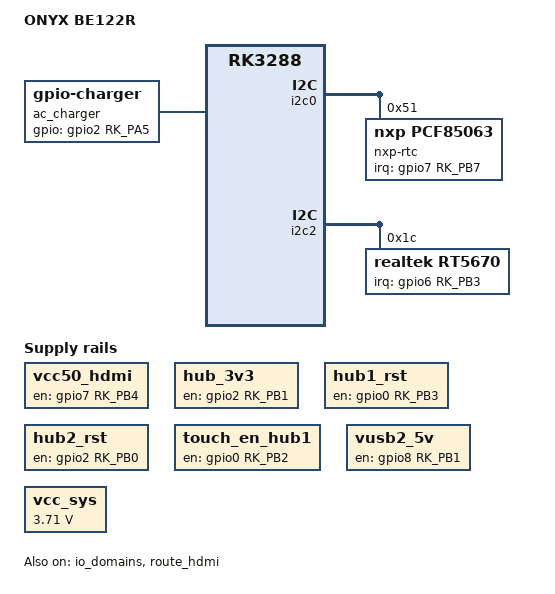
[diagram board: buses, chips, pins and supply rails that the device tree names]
/*
 * Copyright (c) 2021 Onyx Healthcare Inc.
 *
 * SPDX-License-Identifier: (GPL-2.0+ OR MIT)
 */

/dts-v1/;
#include "rk3288-evb-android-rk808-edp.dtsi"

/delete-node/ &vcc_lcd;
/delete-node/ &vcc_wl;

/ {
	model = "ONYX BE122R";
	compatible = "rockchip,rk3288-evb-android-rk808-edp", "rockchip,rk3288";
	chosen: chosen {
		bootargs = "earlycon=uart8250,mmio32,0xff690000 vmalloc=496M swiotlb=1 console=ttyFIQ0 androidboot.baseband=N/A androidboot.veritymode=enforcing androidboot.hardware=rk30board androidboot.console=ttyFIQ0 init=/init kpti=0 snd_soc_rt5670.quirk=0x040C";
	};

	ac_charger: ac-charger {
		compatible = "gpio-charger";
		charger-type = "mains";
		gpios = <&gpio2 RK_PA5 GPIO_ACTIVE_HIGH>;
		pinctrl-names = "default";
		pinctrl-0 = <&ac_present_ap>;
	};

	gpio-keys {
		pinctrl-0 = <&pwrbtn &en_keys>;

		brightness-down-key {
			gpios = <&gpio2 RK_PA3 GPIO_ACTIVE_LOW>;
			label = "Brightness_down";
			linux,code = <KEY_BRIGHTNESSDOWN>;
			debounce-interval = <100>;
		};

		brightness-up-key {
			gpios = <&gpio2 RK_PA2 GPIO_ACTIVE_LOW>;
			label = "Brightness_up";
			linux,code = <KEY_BRIGHTNESSUP>;
			debounce-interval = <100>;
		};

		vol-down-key {
			gpios = <&gpio2 RK_PA1 GPIO_ACTIVE_LOW>;
			label = "Volume_down";
			linux,code = <KEY_VOLUMEDOWN>;
			debounce-interval = <100>;
		};

		vol-up-key {
			gpios = <&gpio2 RK_PA0 GPIO_ACTIVE_LOW>;
			label = "Volume_up";
			linux,code = <KEY_VOLUMEUP>;
			debounce-interval = <100>;
		};
	};

	panel {
		enable-gpios = <&gpio7 RK_PA3 GPIO_ACTIVE_HIGH>;

		display-timings {
			native-mode = <&timing0>;

			timing0: timing0 {
				clock-frequency = <76420000>;
				hactive = <1366>;
				vactive = <768>;
				hfront-porch = <50>;
				hsync-len = <126>;
				hback-porch = <50>;
				vfront-porch = <15>;
				vsync-len = <2>;
				vback-porch = <15>;
				hsync-active = <0>;
				vsync-active = <0>;
				de-active = <0>;
				pixelclk-active = <0>;
			};
		};

		port {
			panel_in_edp: endpoint {
				remote-endpoint = <&edp_out_panel>;
			};
		};
	};

	vcc50_hdmi: vcc50-hdmi {
		compatible = "regulator-fixed";
		regulator-name = "vcc50_hdmi";
		regulator-always-on;
		enable-active-high;
		gpio = <&gpio7 RK_PB4 GPIO_ACTIVE_HIGH>;
		pinctrl-names = "default";
		pinctrl-0 = <&hdmi_en>;
	};

	hub_3v3: hub-3v3 {
		compatible = "regulator-fixed";
		enable-active-high;
		gpio = <&gpio2 RK_PB1 GPIO_ACTIVE_HIGH>;
		pinctrl-names = "default";
		pinctrl-0 = <&phy_pwr_en>;
		regulator-name = "hub_3v3";
		regulator-always-on;
	};

	hub1_rst: hub1-rst {
		compatible = "regulator-fixed";
		enable-active-high;
		gpio = <&gpio0 RK_PB3 GPIO_ACTIVE_HIGH>;
		pinctrl-names = "default";
		pinctrl-0 = <&hub1_rst_en>;
		regulator-name = "hub1_rst";
		regulator-always-on;
	};

	hub2_rst: hub2-rst {
		compatible = "regulator-fixed";
		enable-active-high;
		gpio = <&gpio2 RK_PB0 GPIO_ACTIVE_HIGH>;
		pinctrl-names = "default";
		pinctrl-0 = <&hub2_rst_en>;
		regulator-name = "hub2_rst";
		regulator-always-on;
	};

	touch_en_hub1: touch-en-hub1 {
		compatible = "regulator-fixed";
		enable-active-high;
		gpio = <&gpio0 RK_PB2 GPIO_ACTIVE_HIGH>;
		pinctrl-names = "default";
		pinctrl-0 = <&touch_en>;
		regulator-name = "touch_en_hub1";
		regulator-always-on;
	};

	vusb2_5v: vusb2-5v {
		compatible = "regulator-fixed";
		enable-active-high;
		gpio = <&gpio8 RK_PB1 GPIO_ACTIVE_HIGH>;
		pinctrl-names = "default";
		pinctrl-0 = <&usb2_pwr_en>;
		regulator-name = "vusb2_5v";
		regulator-always-on;
	};

	wireless-wlan {
		wifi_chip_type = "ap6255";
	};
};

&i2c0 {
	nxp-rtc@51 {
		reg = <0x51>;
		compatible = "nxp,pcf85063";
		irq_gpio = <&gpio7 RK_PB7 GPIO_ACTIVE_HIGH>;
		status = "okay";
	};
};

&i2c1 {
	/delete-node/ ak8963-compass@0d;
	/delete-node/ mpu-acc@68;
	/delete-node/ mpu-gyro@68;
};

&i2c2 {
	/delete-node/ rt5640@1c;

	rt5670: rt5670@1c {
		#sound-dai-cells = <0>;
		compatible = "realtek,rt5670";
		reg = <0x1c>;
		clocks = <&cru SCLK_I2S0_OUT>;
		clock-names = "mclk";
		interrupt-parent = <&gpio6>;
		interrupts = <RK_PB3 IRQ_TYPE_EDGE_FALLING>;
		pinctrl-names = "default";
		pinctrl-0 = <&i2s0_mclk>;
	};
};

&i2c4 {
	/delete-node/ gsl3673@40;
};

&io_domains {
	status = "okay";

	audio-supply = <&vcc_18>;
	dvp-supply = <&vcc_18>;
	flash1-supply = <&vcc_lan>;
	lcdc-supply = <&vcc_io>;
	wifi-supply = <&vcc_18>;
};

&isp_mmu {
	status = "okay";
};

&route_hdmi {
	status = "okay";
};

&vcc_sys {
	regulator-min-microvolt = <3710000>;
	regulator-max-microvolt = <3710000>;
};

&vopb {
	assigned-clocks = <&cru DCLK_VOP0>;
	assigned-clock-parents = <&cru PLL_GPLL>;
};

&vopl {
	assigned-clocks = <&cru DCLK_VOP1>;
	assigned-clock-parents = <&cru PLL_CPLL>;
};

&rk808 {
	vcc7-supply = <&vcc_sys>;
	vcc9-supply = <&vcc_sys>;
	vcc10-supply = <&vcc_sys>;
	vcc11-supply = <&vcc_sys>;

	regulators {
		DCDC_REG1 {
			regulator-min-microvolt = <700000>;
			regulator-max-microvolt = <1500000>;
		};

		DCDC_REG2 {
			regulator-min-microvolt = <700000>;
			regulator-max-microvolt = <1500000>;
		};

		vcc_gps: LDO_REG4 {
			regulator-always-on;
			regulator-boot-on;
			regulator-min-microvolt = <3300000>;
			regulator-max-microvolt = <3300000>;
			regulator-name = "vcc_gps";
			regulator-state-mem {
				regulator-on-in-suspend;
			};
		};

		LDO_REG5 {
			regulator-min-microvolt = <3300000>;
		};

		vcc_lan: SWITCH_REG2 {
			regulator-always-on;
			regulator-boot-on;
			regulator-name = "vcc_lan";
			regulator-state-mem {
				regulator-off-in-suspend;
			};
		};
	};
};

&pinctrl {
	buttons {
		en_keys: en-keys {
			rockchip,pins = <7 RK_PB6 RK_FUNC_GPIO &pcfg_pull_up>,
					<7 RK_PC5 RK_FUNC_GPIO &pcfg_pull_up>;
		};
	};

	charger {
		ac_present_ap: ac-present-ap {
			rockchip,pins = <2 RK_PA5 RK_FUNC_GPIO &pcfg_pull_none>;
		};
	};

	hdmi {
		hdmi_en: hdmi-en {
			rockchip,pins = <7 12 RK_FUNC_GPIO &pcfg_pull_up>;
		};
	};

	i2c3 {
		i2c3-xfer {
			rockchip,pins = <2 17 RK_FUNC_1 &pcfg_pull_up>,
					<2 16 RK_FUNC_1 &pcfg_pull_up>;
		};
	};

	usb {
		hub1_rst_en: hub1-rst-en {
			rockchip,pins = <0 11 RK_FUNC_GPIO &pcfg_pull_none>;
		};
		touch_en: touch-en {
			rockchip,pins = <0 10 RK_FUNC_GPIO &pcfg_pull_none>;
		};
		hub2_rst_en: hub2-rst-en {
			rockchip,pins = <2 8 RK_FUNC_GPIO &pcfg_pull_none>;
		};
		phy_pwr_en: phy-pwr-en {
			rockchip,pins = <2 9 RK_FUNC_GPIO &pcfg_pull_none>;
		};
		usb2_pwr_en: usb2-pwr-en {
			rockchip,pins = <8 9 RK_FUNC_GPIO &pcfg_pull_none>;
		};
	};
};

&sound {
	simple-audio-card,name = "realtek,rt5670-codec";
	simple-audio-card,routing =
		"IN1P", "Microphone Jack",
		"IN1N", "Microphone Jack",
		"Microphone Jack", "MICBIAS2",
		"Headphone Jack", "HPOL",
		"Headphone Jack", "HPOR";

	simple-audio-card,dai-link@0 {
		codec {
			sound-dai = <&rt5670>;
		};
	};
};
